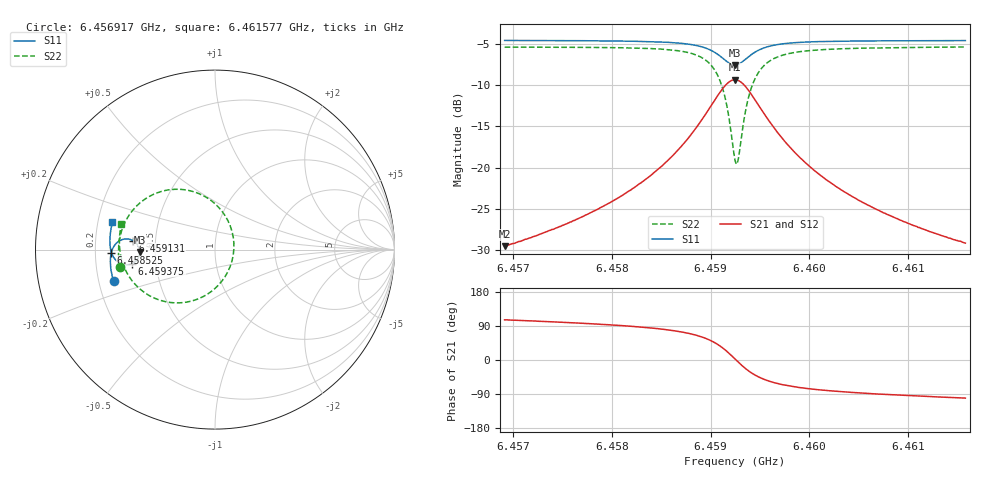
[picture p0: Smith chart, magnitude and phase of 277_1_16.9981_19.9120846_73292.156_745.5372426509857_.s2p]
#  HZ  S  RI  R  50.00
! Rohde & Schwarz Vector Network Analyzer
! Rohde-Schwarz,ZNB20-2Port,1311601062101988,3.16
! Created: UTC 3/20/2024, 11:04:25 PM
! freq[Hz]  re:S11  im:S11  re:S21  im:S21  re:S12  im:S12  re:S22  im:S22
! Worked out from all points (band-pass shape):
!   401 points, 6.456917 GHz to 6.461577 GHz, reference 50 ohm
!   highest |S21| = -9.32 dB at 6.459247 GHz (marker M1); lowest = -29.5 dB at 6.456917 GHz (marker M2)
!   |S21| within 3 dB of the highest: 6.459014 GHz to 6.45948 GHz (465.9 kHz wide, 0.00721 % of centre)
!   lowest |S11| = -7.5 dB at 6.459247 GHz (marker M3), VSWR 2.45, Z = 20.4 - j0.625 ohm
!   |S11| at or under -10 dB: nowhere
!   |S22| runs from -19.6 to -5.3 dB; largest |S21 - S12| = 0.013
!   S11 on the Smith chart (normalised r, x): 6.456917 GHz: 0.26, -0.14; 6.458525 GHz: 0.27, -0.02; 6.459131 GHz: 0.37, +0.05; 6.459375 GHz: 0.37, -0.07; 6.461577 GHz: 0.26, +0.12
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6.4569174e9  -0.565 -0.1774  -0.00915 0.0321  -0.00739 0.032  -0.5307 -0.0943
6.4576978e9  -0.5798 -0.1095  -0.00611 0.0498  -0.00351 0.0493  -0.5377 -0.00353
6.4581055e9  -0.583 -0.069  -0.000855 0.0677  0.00234 0.0665  -0.5313 0.0598
6.4584782e9  -0.5797 -0.0251  0.0133 0.098  0.0171 0.0953  -0.506 0.1421
6.4585248e9  -0.5784 -0.0188  0.0165 0.1033  0.0206 0.1003  -0.4999 0.1553
6.4587345e9  -0.5663 0.0132  0.0422 0.1348  0.0464 0.1302  -0.4519 0.2271
6.4588859e9  -0.5454 0.0395  0.0844 0.1652  0.0879 0.1587  -0.3742 0.2915
6.4590373e9  -0.4997 0.0594  0.1755 0.1845  0.1766 0.1772  -0.2077 0.3362
6.4591305e9  -0.4554 0.0494  0.2647 0.154  0.2652 0.1483  -0.0424 0.2875
6.4591771e9  -0.4344 0.0309  0.3081 0.1118  0.3095 0.1065  0.0401 0.2123
6.459247e9  -0.4197 -0.0126  0.3417 0.0161  0.3452 0.00915  0.1054 0.0347
6.4592586e9  -0.4202 -0.0205  0.3414 -0.00139  0.3453 -0.00904  0.105 0.00163
6.4592819e9  -0.4235 -0.036  0.3361 -0.0358  0.34 -0.0449  0.0945 -0.0636
6.4593285e9  -0.4389 -0.0617  0.3082 -0.0953  0.3103 -0.107  0.0382 -0.1758
6.4593751e9  -0.4607 -0.0778  0.2667 -0.136  0.266 -0.1492  -0.0453 -0.2503
6.4594683e9  -0.5035 -0.0845  0.1832 -0.1673  0.1773 -0.1788  -0.212 -0.2969
6.4596197e9  -0.547 -0.0643  0.0962 -0.1544  0.0879 -0.1605  -0.3781 -0.249
6.4597828e9  -0.5684 -0.0367  0.0516 -0.1271  0.0441 -0.1298  -0.4583 -0.1782
6.4600274e9  -0.5811 -0.00116  0.0226 -0.0959  0.0168 -0.0967  -0.5064 -0.0965
6.4603652e9  -0.5856 0.0387  0.00698 -0.0703  0.00285 -0.0698  -0.5278 -0.0198
6.4608078e9  -0.5839 0.0831  -0.00128 -0.0513  -0.00403 -0.0504  -0.5329 0.0506
6.4615766e9  -0.5715 0.151  -0.00636 -0.0342  -0.00799 -0.0333  -0.5218 0.1409
